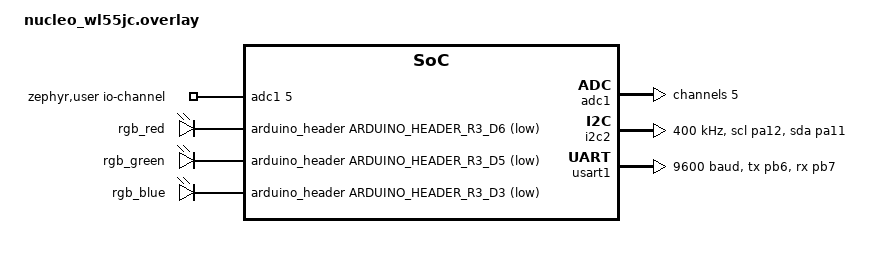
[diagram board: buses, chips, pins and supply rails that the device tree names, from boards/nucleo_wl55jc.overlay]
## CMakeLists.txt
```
cmake_minimum_required(VERSION 3.20.0)
find_package(Zephyr REQUIRED HINTS $ENV{ZEPHYR_BASE})
project(drone_tracker)

target_sources(app PRIVATE
    src/main.c
    src/sensor/sensors.c
    src/sensor/gps.c
    src/control/app.c
    src/control/stats.c
    src/control/button_handler.c
    src/control/data_tx.c
    src/actuator/rgb.c
    
)

target_include_directories(app PRIVATE include)
```

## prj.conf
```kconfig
# hardware: LED + button, MPU6050 + Si7021, LDR, GPS + terminal
CONFIG_GPIO=y
CONFIG_I2C=y
CONFIG_ADC=y
CONFIG_SERIAL=y
CONFIG_UART_INTERRUPT_DRIVEN=y

# floats: maths and printing decimals
CONFIG_FPU=y
CONFIG_CBPRINTF_FP_SUPPORT=y
CONFIG_REQUIRES_FULL_LIBC=y
CONFIG_PICOLIBC_IO_FLOAT=y

# SIMU mode prints only frames: no banner, no logs
CONFIG_BOOT_BANNER=n
CONFIG_LOG=n

CONFIG_RING_BUFFER=y
```

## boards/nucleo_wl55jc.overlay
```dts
#include <zephyr/dt-bindings/pinctrl/stm32-pinctrl.h>
#include <zephyr/dt-bindings/gpio/gpio.h>
#include <zephyr/dt-bindings/gpio/arduino-header-r3.h>
#include <zephyr/dt-bindings/adc/adc.h>

/ {
    /* LDR on A0 (ADC1 channel 5) */
    zephyr,user {
        io-channels = <&adc1 5>;
    };

    /* RGB LED, common anode to 3.3 V: LOW = on
     * red D6, green D5, blue D3 */
    app_rgb_leds {
        compatible = "gpio-leds";
        rgb_red:   rgb_red   { gpios = <&arduino_header ARDUINO_HEADER_R3_D6 GPIO_ACTIVE_LOW>; };
        rgb_green: rgb_green { gpios = <&arduino_header ARDUINO_HEADER_R3_D5 GPIO_ACTIVE_LOW>; };
        rgb_blue:  rgb_blue  { gpios = <&arduino_header ARDUINO_HEADER_R3_D3 GPIO_ACTIVE_LOW>; };
    };

    /* short names used in the code */
    aliases {
        rgb-red = &rgb_red;       /* external RGB LED, red   -> D6 (470 ohm) */
        rgb-green = &rgb_green;   /* external RGB LED, green -> D5 (470 ohm) */
        rgb-blue = &rgb_blue;     /* external RGB LED, blue  -> D3 (470 ohm) */
        sw0 = &user_button_1;     /* button B1 */
        sensor-i2c = &i2c2;       /* MPU6050 + Si7021 */
        gps-uart = &usart1;       /* GPS */
    };
};

/* ADC for the LDR, 12 bits (0 - 4095) */
&adc1 {
    status = "okay";
    #address-cells = <1>;
    #size-cells = <0>;

    channel@5 {
        reg = <5>;
        zephyr,gain = "ADC_GAIN_1";
        zephyr,reference = "ADC_REF_INTERNAL";
        zephyr,acquisition-time = <ADC_ACQ_TIME_DEFAULT>;
        zephyr,resolution = <12>;
    };
};

/* I2C for MPU6050 (0x68) and Si7021 (0x40): SDA D14 (PA11), SCL D15 (PA12), 400 kHz */
&i2c2 {
    pinctrl-0 = <&i2c2_scl_pa12 &i2c2_sda_pa11>;
    pinctrl-names = "default";
    clock-frequency = <I2C_BITRATE_FAST>;
    status = "okay";
};

/* GPS on USART1, 9600 baud: board TX PB6 -> GPS RX, board RX PB7 -> GPS TX */
&usart1 {
    pinctrl-0 = <&usart1_tx_pb6 &usart1_rx_pb7>;
    pinctrl-names = "default";
    current-speed = <9600>;
    status = "okay";
};
```

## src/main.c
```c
/* main.c - starts the drone tracker */
#include <zephyr/kernel.h>
#include <zephyr/sys/printk.h>
#include "gps.h"
#include "rgb.h"
#include "button_handler.h"

/* runs once at start-up, then the threads keep working */
int main(void)
{
	printk("\nDrone tracker\n");
	gps_init();             /* GPS: UART interrupt + GPS thread (Adrian) */
	button_system_init();   /* button B1 -> mode change (Adrian) */
	rgb_init();             /* RGB LED (Adrian) */
	rgb_set(0, 0, 1);       /* we start in TEST blue: same colour as fsm_start_test */
	return 0;               /* sensors, FSM and send threads start on their own */
}
```

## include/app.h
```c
#ifndef APP_H
#define APP_H

#include <zephyr/kernel.h>
#include <stdint.h>
#include <stdbool.h>

typedef enum {
    TRACKER_STATE_IDLE,
    TRACKER_STATE_FLYING,
    TRACKER_STATE_PROBLEM
} tracker_state_t;

typedef enum {
    STATE_TEST,
    STATE_NORMAL,
    STATE_SIMU
} state_t;

typedef struct {
    uint32_t seq;
    uint32_t timestamp_ms;
    uint8_t fix;                  /* GPS */
	uint8_t sats;
	double lat, lon;
	float alt;
    float x, y, z;             /* position, m        */
	float vx, vy, vz;          /* speed, m/s         */
    float roll, pitch, yaw;    /* angles, deg        */
	float ax, ay, az;          /* acceleration, m/s2 */
	float gx, gy, gz;          /* rotation, deg/s    */
	float temp, hum, light;    /* C, %, %            */
    tracker_state_t state;
    uint16_t flags;
}TelemetryPacket;

void fsm_update_gps_data(uint8_t fix, uint8_t sats, double lat, double lon, float alt);
void fsm_update_environment_data(float light, float temp, float hum);
void fsm_update_imu_data(float ax, float ay, float az, float gx, float gy, float gz);
bool fsm_get_telemetry(TelemetryPacket *out);
state_t fsm_get_state();

#endif
```

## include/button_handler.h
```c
#ifndef BUTTON_HANDLER_H
#define BUTTON_HANDLER_H

#include <zephyr/kernel.h>

int button_system_init(void);

extern struct k_sem button_sem;

#endif
```

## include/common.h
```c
/* common.h - things we both use.*/

#ifndef COMMON_H
#define COMMON_H

#include <stdbool.h>
#include <stdint.h>

/* how often the threads run */
#define IMU_PERIOD_MS  20      /* sensors thread (me Kira)  */
#define APP_PERIOD_MS  100     /* app thread (u Adrian)    */

/* modes (B1 changes them) */
#define MODE_TEST    0
#define MODE_NORMAL  1
#define MODE_SIMU    2

/* drone states */
#define ST_IDLE     0
#define ST_FLYING   1
#define ST_PROBLEM  2

/* shared data: sensors and GPS to write here, the app reads it */
struct data {
	float ax, ay, az;          /* acceleration, m/s2 */
	float gx, gy, gz;          /* rotation, deg/s    */
	float roll, pitch, yaw;    /* angles, deg        */
	float x, y, z;             /* position, m        */
	float vx, vy, vz;          /* speed, m/s         */
	float temp, hum, light;    /* C, %, %            */
	bool imu_ok, si_ok, ldr_ok;
	bool fix;                  /* GPS */
	int sats;
	double lat, lon;
	float alt;
	char utc[9];
};

extern struct data d;
void data_lock(void);          /* always lock before using d */
void data_unlock(void);
int get_mode(void);

/* gps.c */
int gps_init(void);

/* printk that stays quiet in SIMU mode */
#define DBG(...) do { if (get_mode() != MODE_SIMU) printk(__VA_ARGS__); } while (0)

#endif
```

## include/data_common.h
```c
/* common.h - things we both use.*/

#ifndef DATA_COMMON_H
#define DATA_COMMON_H

#include <stdbool.h>
#include <stdint.h>

/* how often the threads run */
#define IMU_PERIOD_MS  20      /* sensors thread   */
#define APP_PERIOD_MS  100     /* app thread   */

/* modes (B1 changes them) */
#define MODE_TEST    0
#define MODE_NORMAL  1
#define MODE_SIMU    2

/* drone states */
#define ST_IDLE     0
#define ST_FLYING   1
#define ST_PROBLEM  2

/* shared data: sensors and GPS to write here, the app reads it */
struct data {
	float ax, ay, az;          /* acceleration, m/s2 */
	float gx, gy, gz;          /* rotation, deg/s    */
	float roll, pitch, yaw;    /* angles, deg        */
	float x, y, z;             /* position, m        */
	float vx, vy, vz;          /* speed, m/s         */
	float temp, hum, light;    /* C, %, %            */
	bool imu_ok, si_ok, ldr_ok;
	bool fix;                  /* GPS */
	int sats;
	double lat, lon;
	float alt;
	char utc[9];
};

extern struct data d;
void data_lock(void);          /* always lock before using d */
void data_unlock(void);
int get_mode(void);


/* printk that stays quiet in SIMU mode */
#define DBG(...) do { if (get_mode() != MODE_SIMU) printk(__VA_ARGS__); } while (0)

#endif
```

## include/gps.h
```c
#ifndef GPS_H
#define GPS_H

int gps_init(void);

#endif
```

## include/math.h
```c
#ifndef MATH_H
#define MATH_H

#include <stdbool.h>
#include <stdint.h>

typedef struct {
    float min;
    float max;
    float mean;
} LightStats;

typedef struct {
    float min;
    float max;
    float mean;
} TemperatureStats;

typedef struct {
    float min;
    float max;
    float mean;
} HumidityStats;

typedef struct {
    float min;
    float max;
    float mean;
} AccelerationStats;

typedef struct {
    float min;
    float max;
    float mean;
} AngularVelocityStats;

typedef struct {
    LightStats light;
    TemperatureStats temp;
    HumidityStats hum;
    AccelerationStats accel;
    AngularVelocityStats angVel;
} Stats;

#endif
```

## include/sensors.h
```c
#pragma once   /* include only once, avoids double-definition errors */
#include <zephyr/sys/printk.h>

/* ================= timing ================= */
#define IMU_PERIOD_MS  20          /*IMU in NORMAL / SIMU: every 20 ms (50 Hz) */
#define IMU_TEST_PERIOD_MS  2000   /* IMU in TEST: every 2 s */
#define ENV_PERIOD_MS  2000   /* environment thread: Si7021 + LDR every 2 s */

/* ================= MPU6050 ================= */
/* WHO_AM_I on our board: 0x68*/
/* Z offset (flip test): chip up Z = +8.00, chip down Z = -11.6
 *   -> offset = (8.00 - 11.6) / 2 = -1.80 */
#define MPU_ADDR       0x68       
#define ACC_Z_OFFSET   (-1.80f)    
#define CAL_LOOPS      100         

/* ================= Si7021 ================= */
#define SI_ADDR        0x40        /* I2C address (fixed) */

/* ================= LDR ================= */
/* measured on our board: lights off raw 3900, room 1070, phone torch 120 */
#define LDR_DARK       3900           /* raw value covered -> 0 %   */
#define LDR_BRIGHT     120        /* raw value torch   -> 100 %  */

/* ================= test prints ================= */
#define SENSOR_DEBUG   0           /* 1 = on, 0 = off (final version) */
#define SENSOR_DBG(...) do { if (SENSOR_DEBUG) printk(__VA_ARGS__); } while (0)
```

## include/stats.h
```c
#ifndef STATS_H
#define STATS_H

#include <stdbool.h>
#include <stdint.h>

typedef struct {
    float min;
    float max;
    float mean;
} LightStats;

typedef struct {
    float min;
    float max;
    float mean;
} TemperatureStats;

typedef struct {
    float min;
    float max;
    float mean;
} HumidityStats;

typedef struct {
    float min;
    float max;
    float mean;
} AccelerationStats;

typedef struct {
    float min;
    float max;
    float mean;
} AngularVelocityStats;

typedef struct {
    LightStats light;
    TemperatureStats temp;
    HumidityStats hum;
    AccelerationStats accel;
    AngularVelocityStats angVel;
} Stats;

typedef struct {
    float min;
    float max;
    double sum;
    uint32_t count;
} StatAccumulator;

void math_add_imu_sample(float ax, float ay, float az,
                         float gx, float gy, float gz);

void math_add_env_sample(float light, float hum, float temp);

bool math_get_stats(Stats *out);

#endif
```

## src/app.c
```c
/* app.c - runs every 100 ms.
 * TODO: we read the shared data, decide the state, set the LED,
 * print the output for TEST / NORMAL / SIMU.
 * In SIMU only the frame is printed. */
#include <zephyr/kernel.h>
#include <zephyr/sys/printk.h>
#include "common.h"
```
